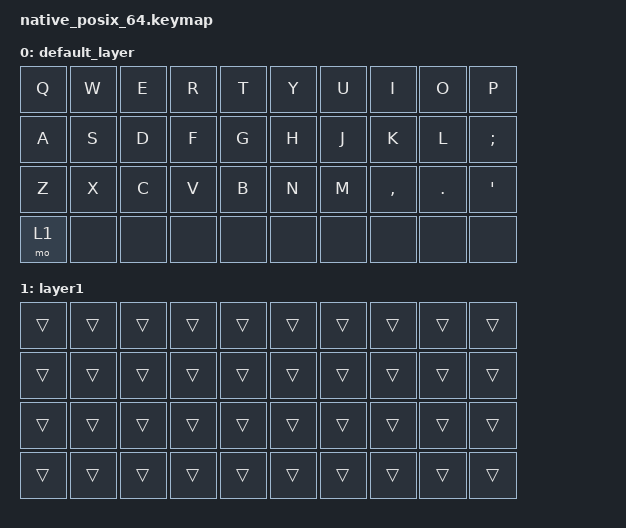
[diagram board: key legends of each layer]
/*
 * 英数/かな コンボ (config/KobitoKey.keymap の combo_eisu / combo_kana)。
 *
 * D+F -> LANG2 (英数) / J+K -> LANG1 (かな)。timeout-ms = 80 は
 * 「2 本指のズレで取りこぼす」と「ローマ字入力中に誤爆する」の
 * トレードオフそのもので、値を触ったときの影響が一番読みにくい。
 * 境界 (70ms で成立 / 100ms で不成立) を両方固定する。
 *
 * layers を指定していない = 全レイヤーで有効、も設計意図なので固定する。
 * オートマウスレイヤー滞在中でも IME 切替を優先するための指定で、
 * `layers = <0>` を足すと壊れる。
 *
 * mock kscan は実機と同じ 4 行 10 列に広げてあるので、position は
 * config/KobitoKey.keymap と同じ番号で書ける (12=D 13=F 16=J 17=K)。
 */

#include <dt-bindings/zmk/keys.h>
#include <behaviors.dtsi>
#include <dt-bindings/zmk/kscan_mock.h>

/ {
    combos {
        compatible = "zmk,combos";

        /* config/KobitoKey.keymap と同一に保つこと (doctor.sh が検査する) */
        combo_eisu {
            timeout-ms = <80>;
            key-positions = <12 13>;
            bindings = <&kp LANG2>;
        };

        combo_kana {
            timeout-ms = <80>;
            key-positions = <16 17>;
            bindings = <&kp LANG1>;
        };
    };

    keymap {
        compatible = "zmk,keymap";

        default_layer {
            bindings = <
&kp Q      &kp W     &kp E     &kp R     &kp T     &kp Y   &kp U   &kp I      &kp O    &kp P
&kp A      &kp S     &kp D     &kp F     &kp G     &kp H   &kp J   &kp K      &kp L    &kp SEMI
&kp Z      &kp X     &kp C     &kp V     &kp B     &kp N   &kp M   &kp COMMA  &kp DOT  &kp APOS
&mo 1      &none     &none     &none     &none     &none   &none   &none      &none    &none
            >;
        };

        /* 高番レイヤー滞在中でもコンボが成立することの確認用。
         * D/F/J/K の位置は &trans にしておき、コンボが効かなかった場合は
         * Layer 0 の素の文字が出る = 差分で分かるようにする。 */
        layer1 {
            bindings = <
&trans  &trans  &trans  &trans  &trans  &trans  &trans  &trans  &trans  &trans
&trans  &trans  &trans  &trans  &trans  &trans  &trans  &trans  &trans  &trans
&trans  &trans  &trans  &trans  &trans  &trans  &trans  &trans  &trans  &trans
&trans  &trans  &trans  &trans  &trans  &trans  &trans  &trans  &trans  &trans
            >;
        };
    };
};

&kscan {
    rows = <4>;
    columns = <10>;

    events = <
        /* A: D+F をほぼ同時 -> LANG2 (英数) */
        ZMK_MOCK_PRESS(1,2,10)
        ZMK_MOCK_PRESS(1,3,10)
        ZMK_MOCK_RELEASE(1,2,10)
        ZMK_MOCK_RELEASE(1,3,400)

        /* B: J+K をほぼ同時 -> LANG1 (かな) */
        ZMK_MOCK_PRESS(1,6,10)
        ZMK_MOCK_PRESS(1,7,10)
        ZMK_MOCK_RELEASE(1,6,10)
        ZMK_MOCK_RELEASE(1,7,400)

        /* C: timeout 内 (70ms) なら成立する — 境界の下側 */
        ZMK_MOCK_PRESS(1,2,70)
        ZMK_MOCK_PRESS(1,3,10)
        ZMK_MOCK_RELEASE(1,2,10)
        ZMK_MOCK_RELEASE(1,3,400)

        /* D: timeout を超える (100ms) と成立せず D と F が個別に出る
         *    — 境界の上側。ローマ字入力で df と打ったときの挙動 */
        ZMK_MOCK_PRESS(1,2,100)
        ZMK_MOCK_PRESS(1,3,10)
        ZMK_MOCK_RELEASE(1,2,10)
        ZMK_MOCK_RELEASE(1,3,400)

        /* E: Layer 1 滞在中でも D+F が成立する (layers 未指定 = 全レイヤー)。
         *    ここが赤くなったら combo に layers が足されたというシグナル */
        ZMK_MOCK_PRESS(3,0,10)
        ZMK_MOCK_PRESS(1,2,10)
        ZMK_MOCK_PRESS(1,3,10)
        ZMK_MOCK_RELEASE(1,2,10)
        ZMK_MOCK_RELEASE(1,3,10)
        ZMK_MOCK_RELEASE(3,0,10)
    >;
};
